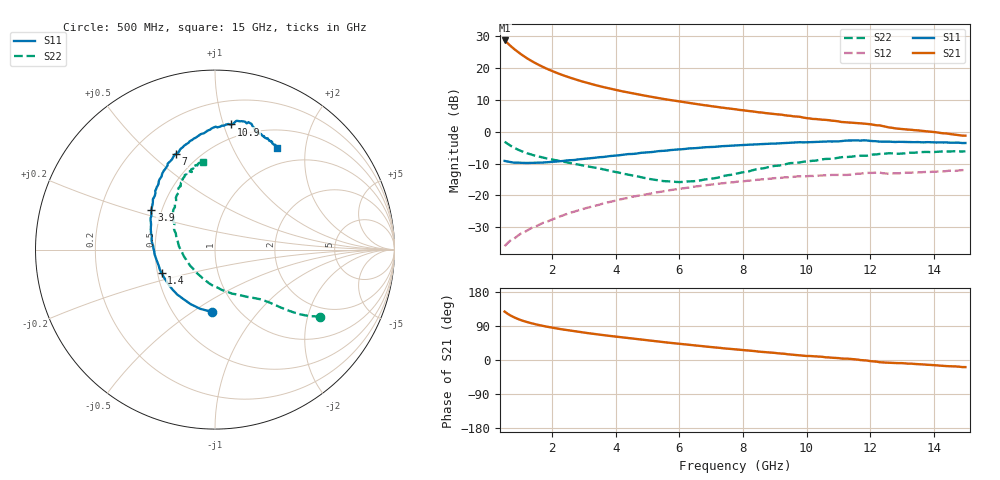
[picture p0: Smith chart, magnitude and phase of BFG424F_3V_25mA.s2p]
! Filename BFG424F_3V_25mA.prm
! Created	by	janssen	on	nov	2006
!	Column ranking S11, S21,S12,S22 both magnitude and phase.
!	VCE	=	3	V,	IC	=	25	mA
!	Common	Emitter	S-Parameters
#	GHZ	S	MA	R	50
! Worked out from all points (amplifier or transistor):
!   146 points, 500 MHz to 15 GHz, reference 50 ohm
!   highest |S21| = 28.6 dB at 500 MHz (marker M1)
!   |S21| within 3 dB of that: start of sweep to 840.6 MHz
!   unconditionally stable (mu >= 1): 1.463 GHz to end of sweep
!   at 2.9 GHz: K = 1.15, MAG = 17.8 dB, |S12| = -24.4 dB
!   at 7.8 GHz: K = 1.13, MAG = 9.2 dB, |S12| = -15.7 dB
!   at 15 GHz: K = 1.39, MAG = 1.7 dB, |S12| = -12.1 dB
!   S11 on the Smith chart (normalised r, x): 500 MHz: 0.76, -0.60; 1.4 GHz: 0.53, -0.15; 3.9 GHz: 0.44, +0.24; 7 GHz: 0.38, +0.61; 10.9 GHz: 0.38, +1.06; 15 GHz: 0.74, +1.51
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0.5  0.348 -92.5  27.03 127.8  0.016 66.4  0.696 -32.4
0.6  0.34 -104.0  24.26 121.8  0.018 64.8  0.643 -35.2
0.7  0.333 -114.0  21.89 116.8  0.02 64.8  0.598 -37.2
0.8  0.327 -122.6  19.85 112.5  0.021 64.8  0.561 -38.6
0.9  0.327 -130.0  18.14 108.9  0.023 65.0  0.529 -39.8
1  0.325 -136.4  16.66 105.6  0.025 65.1  0.503 -40.8
1.1  0.324 -142.0  15.37 102.8  0.026 65.7  0.481 -41.6
1.2  0.323 -147.2  14.25 100.2  0.028 66.3  0.461 -42.4
1.4  0.325 -156.3  12.44 95.8  0.032 67.3  0.429 -43.9
1.7  0.328 -166.9  10.42 90.1  0.037 68.6  0.393 -46.1
2.1  0.339 -178.5  8.532 83.8  0.044 69.5  0.358 -49.8
2.5  0.356 172.4  7.206 78.4  0.052 70.2  0.327 -54.0
3  0.375 162.6  6.031 72.4  0.062 69.8  0.294 -60.4
3.9  0.418 147.9  4.645 62.7  0.081 68.1  0.238 -75.9
4.7  0.458 136.4  3.843 54.7  0.099 65.4  0.198 -95.4
5.4  0.498 128.5  3.341 48.1  0.114 62.5  0.17 -117.0
7  0.576 112.0  2.519 34.2  0.148 55.5  0.183 -174.6
7.8  0.61 104.9  2.237 27.9  0.164 51.5  0.22 165.0
10.2  0.688 87.3  1.587 10.1  0.202 38.9  0.35 128.2
10.9  0.703 82.8  1.477 5.5  0.21 35.5  0.382 122.6
12.6  0.698 70.6  1.166 -7.2  0.219 27.9  0.46 108.7
15  0.665 58.7  0.867 -18.7  0.248 19.4  0.493 97.7
